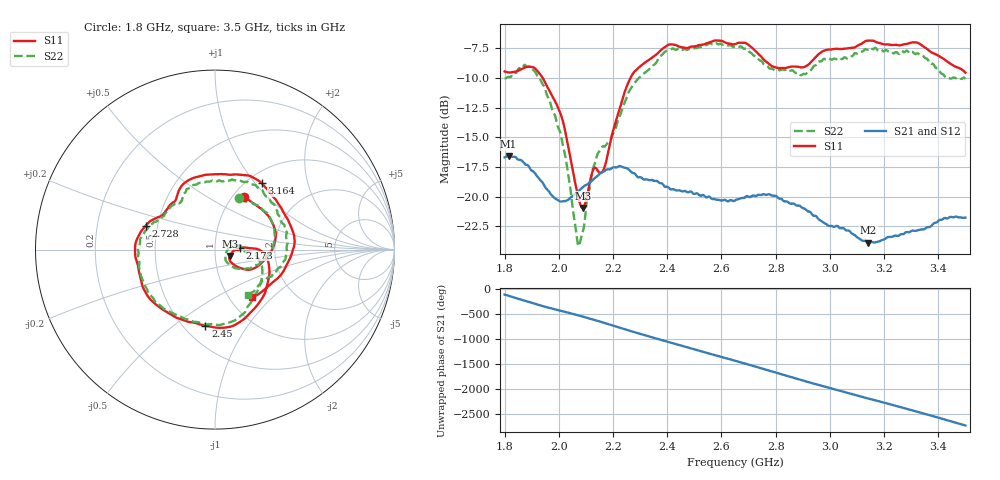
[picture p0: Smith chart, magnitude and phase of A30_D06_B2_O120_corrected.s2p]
! Created with skrf 1.9.0 (http://scikit-rf.org).
# Hz S RI R 50.0
!freq ReS11 ImS11 ReS21 ImS21 ReS12 ImS12 ReS22 ImS22
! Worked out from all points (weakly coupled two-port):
!   1601 points, 1.8 GHz to 3.5 GHz, reference 50 ohm
!   highest |S21| = -16.60 dB at 1.815 GHz (marker M1); lowest = -23.9 dB at 3.142 GHz (marker M2)
!   lowest |S11| = -21.0 dB at 2.088 GHz (marker M3), VSWR 1.20, Z = 58.8 - j4.16 ohm
!   |S11| at or under -10 dB: 1.941 GHz to 2.264 GHz (323.6 MHz wide, 15.4 % of centre)
!   |S22| runs from -24.2 to -7.0 dB; largest |S21 - S12| = 0.0025
!   S11 on the Smith chart (normalised r, x): 1.8 GHz: 1.13, +0.75; 2.173 GHz: 1.32, +0.03; 2.45 GHz: 0.63, -0.66; 2.728 GHz: 0.43, +0.14; 3.164 GHz: 1.16, +1.08; 3.5 GHz: 1.27, -0.75
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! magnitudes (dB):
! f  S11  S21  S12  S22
! 1.8 GHz  -9.4  -16.7  -16.7  -10.0
! 1.815 GHz  -9.5  -16.6  -16.6  -9.9
! 1.88 GHz  -9.1  -17.3  -17.3  -9.0
! 1.943 GHz  -10.1  -18.9  -18.9  -10.6
! 2.011 GHz  -13.4  -20.4  -20.4  -15.3
! 2.068 GHz  -19.6  -19.6  -19.6  -23.7
! 2.084 GHz  -20.9  -19.3  -19.3  -23.3
! 2.088 GHz  -21.0  -19.2  -19.2  -23.0
! 2.129 GHz  -17.6  -18.5  -18.5  -17.4
! 2.173 GHz  -17.2  -17.8  -17.8  -15.7
! 2.262 GHz  -10.1  -17.8  -17.8  -11.0
! 2.367 GHz  -7.9  -18.8  -18.7  -8.3
! 2.45 GHz  -7.4  -19.5  -19.5  -7.6
! 2.65 GHz  -7.1  -20.3  -20.3  -7.3
! 2.728 GHz  -7.8  -20.0  -20.0  -8.2
! 2.807 GHz  -9.1  -20.1  -20.0  -9.3
! 2.934 GHz  -8.6  -21.5  -21.4  -9.2
! 3.142 GHz  -6.9  -23.9  -23.8  -7.6
! 3.164 GHz  -6.9  -23.9  -23.8  -7.5
! 3.217 GHz  -7.2  -23.4  -23.4  -7.8
! 3.324 GHz  -7.0  -22.8  -22.8  -7.9
! 3.5 GHz  -9.5  -21.8  -21.8  -10.1
